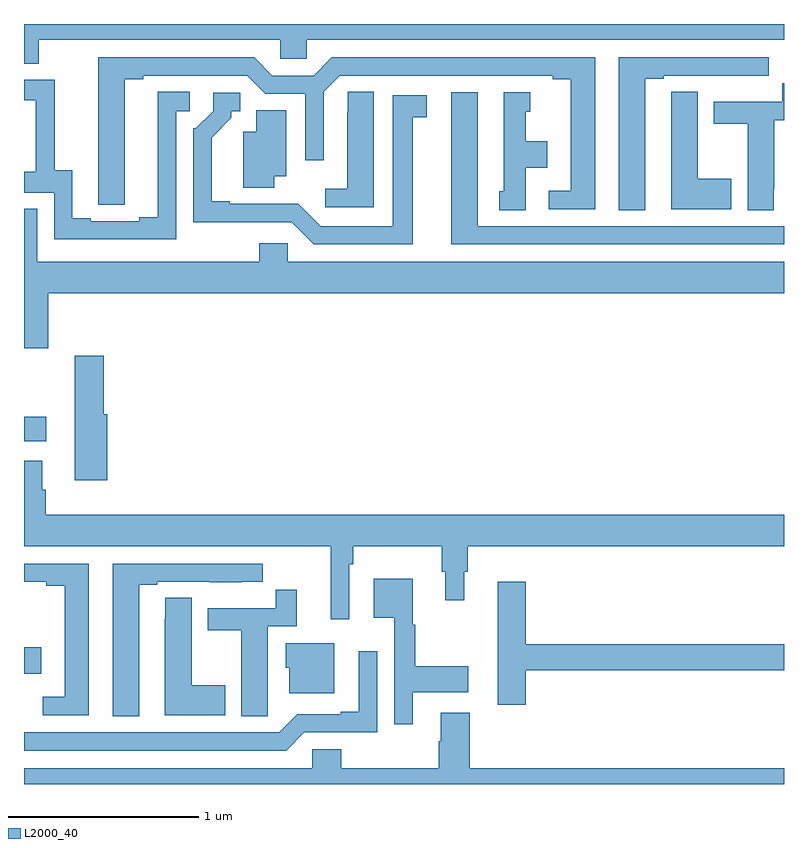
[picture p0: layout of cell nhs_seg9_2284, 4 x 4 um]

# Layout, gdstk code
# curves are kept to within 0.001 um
import gdstk
lib = gdstk.Library(unit=1e-6, precision=1e-09)
def R(c, l, rs):  # rectangles x0, y0, x1, y1
    for r in rs: c.add(gdstk.rectangle(r[:2], r[2:], *l))
def P(c, l, *ps):  # polygons
    for p in ps: c.add(gdstk.Polygon(p, *l))
L2000_40 = (2000, 40)

nhs_seg9_2284 = lib.new_cell('nhs_seg9_2284')
R(nhs_seg9_2284, L2000_40, [(241,1197.08,241.09,1197.22), (241,1198.304,241.117,1198.434)])
P(nhs_seg9_2284, L2000_40, [(241.077,1200.416),(242.349,1200.416),(242.349,1200.318),(242.487,1200.318),(242.487,1200.416),(245,1200.416),(245,1200.5),(241,1200.5),(241,1200.292),(241.077,1200.292)],
  [(244.27,1200.213),(244.366,1200.213),(244.366,1200.228),(244.642,1200.228),(244.642,1200.227),(244.808,1200.227),(244.808,1200.228),(244.921,1200.228),(244.921,1200.324),(244.13,1200.324),(244.13,1199.521),(244.27,1199.521)],
  [(244.006,1200.324),(242.621,1200.324),(242.525,1200.228),(242.307,1200.228),(242.211,1200.324),(241.391,1200.324),(241.392,1199.548),(241.531,1199.548),(241.531,1200.208),(241.627,1200.208),(241.627,1200.228),(242.175,1200.228),(242.271,1200.132),(242.481,1200.132),(242.481,1199.784),(242.577,1199.784),(242.577,1200.144),(242.661,1200.228),(243.782,1200.228),(243.782,1200.208),(243.878,1200.208),(243.878,1199.622),(243.762,1199.622),(243.762,1199.526),(244.006,1199.526)],
  [(241.8,1200.042),(241.873,1200.042),(241.873,1200.143),(241.703,1200.143),(241.703,1199.483),(241.607,1199.483),(241.607,1199.463),(241.351,1199.463),(241.351,1199.478),(241.255,1199.478),(241.255,1199.729),(241.161,1199.729),(241.161,1200.207),(241,1200.207),(241,1200.099),(241.061,1200.099),(241.061,1199.722),(241,1199.722),(241,1199.613),(241.158,1199.613),(241.158,1199.367),(241.8,1199.367)],
  [(244.947,1199.632),(244.948,1199.632),(244.948,1199.994),(245,1199.994),(245,1200.187),(244.99,1200.187),(244.99,1200.09),(244.631,1200.09),(244.631,1199.974),(244.808,1199.974),(244.808,1199.521),(244.947,1199.521)],
  [(244.723,1199.685),(244.546,1199.685),(244.546,1200.143),(244.407,1200.143),(244.407,1200.035),(244.406,1200.035),(244.406,1199.525),(244.723,1199.525)],
  [(242.842,1200.143),(242.703,1200.143),(242.703,1200.035),(242.702,1200.035),(242.702,1199.632),(242.586,1199.632),(242.586,1199.535),(242.842,1199.535)],
  [(245,1199.436),(243.388,1199.436),(243.388,1200.142),(243.248,1200.142),(243.248,1199.34),(245,1199.34)],
  [(243.64,1199.744),(243.754,1199.744),(243.754,1199.884),(243.64,1199.884),(243.64,1200.039),(243.664,1200.039),(243.664,1200.142),(243.524,1200.142),(243.524,1199.619),(243.5,1199.619),(243.5,1199.521),(243.64,1199.521)],
  [(243.046,1200.01),(243.121,1200.01),(243.121,1200.126),(242.942,1200.126),(242.942,1199.436),(242.562,1199.436),(242.444,1199.554),(242.083,1199.553),(242.083,1199.566),(241.987,1199.566),(241.987,1199.902),(242.092,1200.007),(242.092,1200.042),(242.137,1200.042),(242.137,1200.138),(241.995,1200.138),(241.995,1200.042),(241.905,1199.952),(241.89,1199.952),(241.89,1199.456),(242.409,1199.457),(242.526,1199.34),(243.046,1199.34)],
  [(242.317,1199.699),(242.38,1199.699),(242.38,1200.047),(242.222,1200.047),(242.222,1199.932),(242.153,1199.932),(242.153,1199.638),(242.317,1199.638)],
  [(241.127,1199.084),(245,1199.084),(245,1199.248),(242.388,1199.248),(242.388,1199.346),(242.237,1199.346),(242.237,1199.248),(241.069,1199.248),(241.069,1199.528),(241,1199.528),(241,1198.794),(241.127,1198.794)],
  [(241.439,1198.446),(241.421,1198.446),(241.421,1198.753),(241.267,1198.753),(241.267,1198.446),(241.268,1198.446),(241.268,1198.098),(241.439,1198.098)],
  [(241,1198.201),(241,1197.752),(242.615,1197.752),(242.615,1197.366),(242.712,1197.366),(242.712,1197.656),(242.732,1197.656),(242.732,1197.752),(243.199,1197.752),(243.199,1197.618),(243.218,1197.618),(243.218,1197.468),(243.316,1197.468),(243.316,1197.618),(243.335,1197.618),(243.335,1197.752),(245,1197.752),(245,1197.916),(241.115,1197.916),(241.115,1198.05),(241.096,1198.05),(241.096,1198.201)],
  [(241.606,1197.549),(241.702,1197.549),(241.702,1197.564),(241.978,1197.564),(241.978,1197.563),(242.144,1197.563),(242.144,1197.564),(242.257,1197.564),(242.257,1197.66),(241.466,1197.66),(241.466,1196.857),(241.606,1196.857)],
  [(241.342,1197.66),(241,1197.66),(241,1197.564),(241.118,1197.564),(241.118,1197.544),(241.214,1197.544),(241.214,1196.958),(241.098,1196.958),(241.098,1196.862),(241.342,1196.862)],
  [(243.046,1196.984),(243.337,1196.984),(243.337,1197.119),(243.058,1197.119),(243.058,1197.339),(243.046,1197.339),(243.046,1197.58),(242.84,1197.58),(242.84,1197.374),(242.949,1197.374),(242.949,1196.814),(243.046,1196.814)],
  [(243.641,1197.1),(245,1197.1),(245,1197.236),(243.641,1197.236),(243.641,1197.565),(243.494,1197.565),(243.494,1196.916),(243.641,1196.916)],
  [(242.283,1196.968),(242.284,1196.968),(242.284,1197.33),(242.435,1197.33),(242.435,1197.523),(242.326,1197.523),(242.326,1197.426),(241.967,1197.426),(241.967,1197.31),(242.144,1197.31),(242.144,1196.857),(242.283,1196.857)],
  [(242.059,1197.021),(241.882,1197.021),(241.882,1197.479),(241.743,1197.479),(241.743,1197.371),(241.742,1197.371),(241.742,1196.861),(242.059,1196.861)],
  [(242.632,1197.241),(242.378,1197.241),(242.378,1197.111),(242.396,1197.111),(242.396,1196.978),(242.632,1196.978)],
  [(242.475,1196.772),(242.859,1196.772),(242.859,1197.199),(242.762,1197.199),(242.762,1196.881),(242.666,1196.881),(242.666,1196.868),(242.439,1196.868),(242.343,1196.772),(241,1196.772),(241,1196.676),(242.379,1196.676)],
  [(245,1196.584),(243.347,1196.584),(243.347,1196.875),(243.194,1196.875),(243.194,1196.726),(243.182,1196.726),(243.182,1196.584),(242.669,1196.584),(242.669,1196.682),(242.517,1196.682),(242.517,1196.584),(241,1196.584),(241,1196.5),(245,1196.5)])

lib.write_gds('nhs_seg9_2284.gds')
